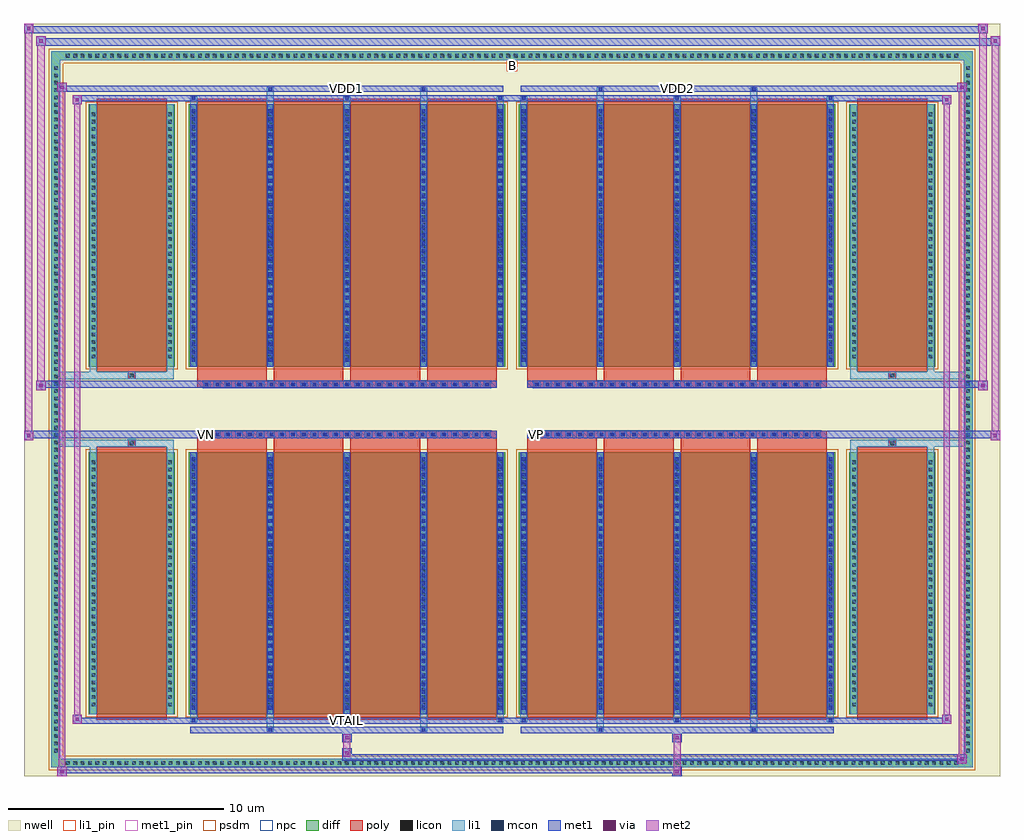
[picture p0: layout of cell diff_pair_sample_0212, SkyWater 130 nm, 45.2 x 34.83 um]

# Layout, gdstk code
import gdstk
lib = gdstk.Library(unit=1e-6, precision=5e-09)
def R(c, l, rs):  # rectangles x0, y0, x1, y1
    for r in rs: c.add(gdstk.rectangle(r[:2], r[2:], *l))
def A(c, l, x, y, w, h, nx, ny, dx, dy):  # array of equal rectangles
    R(c, l, [(x+i*dx, y+j*dy, x+i*dx+w, y+j*dy+h) for i in range(nx) for j in range(ny)])
def P(c, l, *ps):  # polygons
    for p in ps: c.add(gdstk.Polygon(p, *l))
nwell = (64, 20)
diff = (65, 20)
poly = (66, 20)
licon = (66, 44)
li1_pin = (67, 16)
li1 = (67, 20)
mcon = (67, 44)
met1_pin = (68, 16)
met1 = (68, 20)
via = (68, 44)
met2 = (69, 20)
psdm = (94, 20)
npc = (95, 20)

diff_pair_sample_0212 = lib.new_cell('diff_pair_sample_0212')
R(diff_pair_sample_0212, nwell, [(-22.6,-16.98,22.6,17.85), (-19.92,-15.17,-0.01,-0.795), (0.01,-15.17,19.92,-0.795), (-19.92,0.795,-0.01,15.17), (0.01,0.795,19.92,15.17)])
A(diff_pair_sample_0212, diff, -20.775, -16.58, 0.41, 0.41, 122, 2, 0.34, 32.75)
A(diff_pair_sample_0212, diff, -21.33, -16.015, 0.41, 0.41, 1, 94, 0, 0.34)
A(diff_pair_sample_0212, diff, 20.92, -16.015, 0.41, 0.41, 1, 94, 0, 0.34)
R(diff_pair_sample_0212, diff, [(-20.775,-16.58,20.775,-16.17), (-21.33,-16.015,-20.92,16.015), (20.92,-16.015,21.33,16.015), (-19.61,-14.125,-15.61,-1.985), (-14.97,-14.125,-0.32,-1.985), (0.32,-14.125,14.97,-1.985), (15.61,-14.125,19.61,-1.985), (-19.61,1.985,-15.61,14.125), (-14.97,1.985,-0.32,14.125), (0.32,1.985,14.97,14.125), (15.61,1.985,19.61,14.125), (-20.775,16.17,20.775,16.58)])
P(diff_pair_sample_0212, diff, [(21.33,16.58),(-21.33,16.58),(-21.33,-16.17),(-20.92,-16.17),(-20.92,16.17),(20.92,16.17),(20.92,-16.17),(-20.92,-16.17),(-21.33,-16.17),(-21.33,-16.58),(21.33,-16.58)])
A(diff_pair_sample_0212, poly, -14.58, -14.375, 3.22, 12.64, 4, 2, 3.55, 16.11)
A(diff_pair_sample_0212, poly, 0.71, -14.375, 3.22, 12.64, 4, 2, 3.55, 16.11)
A(diff_pair_sample_0212, poly, -14.58, -1.735, 3.22, 0.41, 4, 2, 3.55, 3.06)
A(diff_pair_sample_0212, poly, 0.71, -1.735, 3.22, 0.41, 4, 2, 3.55, 3.06)
A(diff_pair_sample_0212, poly, -14.31, -1.325, 0.33, 0.33, 27, 2, 0.5, 2.32)
A(diff_pair_sample_0212, poly, 0.98, -1.325, 0.33, 0.33, 27, 2, 0.5, 2.32)
R(diff_pair_sample_0212, poly, [(-19.22,-14.375,-16,-1.735), (16,-14.375,19.22,-1.735), (-17.775,-1.735,-17.445,-1.405), (-17.775,-1.735,-17.445,-1.405), (17.445,-1.735,17.775,-1.405), (17.445,-1.735,17.775,-1.405), (-14.58,-1.325,-0.71,-0.995), (0.71,-1.325,14.58,-0.995), (-14.58,0.995,-0.71,1.325), (0.71,0.995,14.58,1.325), (-17.775,1.405,-17.445,1.735), (-17.775,1.405,-17.445,1.735), (17.445,1.405,17.775,1.735), (17.445,1.405,17.775,1.735), (-19.22,1.735,-16,14.375), (16,1.735,19.22,14.375)])
A(diff_pair_sample_0212, licon, -20.655, -16.46, 0.17, 0.17, 122, 2, 0.34, 32.75)
A(diff_pair_sample_0212, licon, -21.21, -15.895, 0.17, 0.17, 1, 94, 0, 0.34)
A(diff_pair_sample_0212, licon, 21.04, -15.895, 0.17, 0.17, 1, 94, 0, 0.34)
A(diff_pair_sample_0212, licon, -19.47, -13.75, 0.17, 0.17, 1, 34, 0, 0.34)
A(diff_pair_sample_0212, licon, -15.92, -13.75, 0.17, 0.17, 1, 34, 0, 0.34)
A(diff_pair_sample_0212, licon, -14.83, -13.75, 0.17, 0.17, 5, 34, 3.55, 0.34)
A(diff_pair_sample_0212, licon, 0.46, -13.75, 0.17, 0.17, 5, 34, 3.55, 0.34)
A(diff_pair_sample_0212, licon, 15.75, -13.75, 0.17, 0.17, 1, 34, 0, 0.34)
A(diff_pair_sample_0212, licon, 19.3, -13.75, 0.17, 0.17, 1, 34, 0, 0.34)
A(diff_pair_sample_0212, licon, -14.23, -1.245, 0.17, 0.17, 27, 2, 0.5, 2.32)
A(diff_pair_sample_0212, licon, 1.06, -1.245, 0.17, 0.17, 27, 2, 0.5, 2.32)
A(diff_pair_sample_0212, licon, -19.47, 2.36, 0.17, 0.17, 1, 34, 0, 0.34)
A(diff_pair_sample_0212, licon, -15.92, 2.36, 0.17, 0.17, 1, 34, 0, 0.34)
A(diff_pair_sample_0212, licon, -14.83, 2.36, 0.17, 0.17, 5, 34, 3.55, 0.34)
A(diff_pair_sample_0212, licon, 0.46, 2.36, 0.17, 0.17, 5, 34, 3.55, 0.34)
A(diff_pair_sample_0212, licon, 15.75, 2.36, 0.17, 0.17, 1, 34, 0, 0.34)
A(diff_pair_sample_0212, licon, 19.3, 2.36, 0.17, 0.17, 1, 34, 0, 0.34)
R(diff_pair_sample_0212, licon, [(-17.695,-1.655,-17.525,-1.485), (17.525,-1.655,17.695,-1.485), (-17.695,1.485,-17.525,1.655), (17.525,1.485,17.695,1.655)])
R(diff_pair_sample_0212, li1_pin, [(-0.25,15.67,0.25,16.17)])
A(diff_pair_sample_0212, li1, -20.735, -16.54, 0.33, 0.33, 122, 2, 0.34, 32.75)
A(diff_pair_sample_0212, li1, -21.29, -15.975, 0.33, 0.33, 1, 94, 0, 0.34)
A(diff_pair_sample_0212, li1, 20.96, -15.975, 0.33, 0.33, 1, 94, 0, 0.34)
A(diff_pair_sample_0212, li1, -14.91, -14.5, 0.33, 0.375, 3, 2, 7.1, 28.625)
A(diff_pair_sample_0212, li1, -14.83, -14.5, 0.17, 0.17, 3, 2, 7.1, 28.83)
A(diff_pair_sample_0212, li1, 0.38, -14.5, 0.33, 0.375, 3, 2, 7.1, 28.625)
A(diff_pair_sample_0212, li1, 0.46, -14.5, 0.17, 0.17, 3, 2, 7.1, 28.83)
A(diff_pair_sample_0212, li1, -14.91, -14.125, 0.33, 12.14, 5, 2, 3.55, 16.11)
A(diff_pair_sample_0212, li1, 0.38, -14.125, 0.33, 12.14, 5, 2, 3.55, 16.11)
A(diff_pair_sample_0212, li1, -14.83, -13.9, 0.17, 0.17, 5, 33, 3.55, 0.36)
A(diff_pair_sample_0212, li1, -14.83, -13.9, 0.17, 11.69, 5, 2, 3.55, 16.11)
A(diff_pair_sample_0212, li1, 0.46, -13.9, 0.17, 0.17, 5, 33, 3.55, 0.36)
A(diff_pair_sample_0212, li1, 0.46, -13.9, 0.17, 11.69, 5, 2, 3.55, 16.11)
A(diff_pair_sample_0212, li1, -19.55, -13.83, 0.33, 0.33, 1, 34, 0, 0.34)
A(diff_pair_sample_0212, li1, -16, -13.83, 0.33, 0.33, 1, 34, 0, 0.34)
A(diff_pair_sample_0212, li1, -14.91, -13.83, 0.33, 0.33, 5, 34, 3.55, 0.34)
A(diff_pair_sample_0212, li1, 0.38, -13.83, 0.33, 0.33, 5, 34, 3.55, 0.34)
A(diff_pair_sample_0212, li1, 15.67, -13.83, 0.33, 0.33, 1, 34, 0, 0.34)
A(diff_pair_sample_0212, li1, 19.22, -13.83, 0.33, 0.33, 1, 34, 0, 0.34)
A(diff_pair_sample_0212, li1, -14.31, -1.325, 0.33, 0.33, 27, 2, 0.5, 2.32)
A(diff_pair_sample_0212, li1, 0.98, -1.325, 0.33, 0.33, 27, 2, 0.5, 2.32)
A(diff_pair_sample_0212, li1, -14.83, 2.21, 0.17, 0.17, 5, 33, 3.55, 0.36)
A(diff_pair_sample_0212, li1, 0.46, 2.21, 0.17, 0.17, 5, 33, 3.55, 0.36)
A(diff_pair_sample_0212, li1, -19.55, 2.28, 0.33, 0.33, 1, 34, 0, 0.34)
A(diff_pair_sample_0212, li1, -16, 2.28, 0.33, 0.33, 1, 34, 0, 0.34)
A(diff_pair_sample_0212, li1, -14.91, 2.28, 0.33, 0.33, 5, 34, 3.55, 0.34)
A(diff_pair_sample_0212, li1, 0.38, 2.28, 0.33, 0.33, 5, 34, 3.55, 0.34)
A(diff_pair_sample_0212, li1, 15.67, 2.28, 0.33, 0.33, 1, 34, 0, 0.34)
A(diff_pair_sample_0212, li1, 19.22, 2.28, 0.33, 0.33, 1, 34, 0, 0.34)
R(diff_pair_sample_0212, li1, [(-21.33,-16.58,-20.92,-16.17), (-21.33,-16.58,-20.92,-16.17), (-20.92,-16.58,20.92,-16.17), (20.92,-16.58,21.33,-16.17), (20.92,-16.58,21.33,-16.17), (-21.33,-16.17,-20.92,16.17), (20.92,-16.17,21.33,16.17), (-11.36,-14.93,-11.03,-14.125), (-11.28,-14.93,-11.11,-14.76), (-4.26,-14.93,-3.93,-14.125), (-4.18,-14.93,-4.01,-14.76), (3.93,-14.93,4.26,-14.125), (4.01,-14.93,4.18,-14.76), (11.03,-14.93,11.36,-14.125), (11.11,-14.93,11.28,-14.76), (-19.55,-14.125,-19.22,-1.985), (-16,-14.125,-15.67,-1.985), (15.67,-14.125,16,-1.985), (19.22,-14.125,19.55,-1.985), (-19.55,-1.985,-19.22,-1.405), (-16,-1.985,-15.67,-1.405), (15.67,-1.985,16,-1.405), (19.22,-1.985,19.55,-1.405), (-21.33,-1.735,-17.775,-1.405), (-19.55,-1.735,-17.775,-1.405), (-17.775,-1.735,-17.445,-1.405), (-17.445,-1.735,-15.67,-1.405), (15.67,-1.735,17.445,-1.405), (17.445,-1.735,17.775,-1.405), (17.445,-1.735,21.33,-1.405), (17.775,-1.735,19.55,-1.405), (-21.33,1.405,-17.775,1.735), (-19.55,1.405,-17.775,1.735), (-19.55,1.405,-19.22,1.985), (-17.775,1.405,-17.445,1.735), (-17.445,1.405,-15.67,1.735), (-16,1.405,-15.67,1.985), (15.67,1.405,17.445,1.735), (15.67,1.405,16,1.985), (17.445,1.405,17.775,1.735), (17.445,1.405,21.33,1.735), (17.775,1.405,19.55,1.735), (19.22,1.405,19.55,1.985), (-19.55,1.985,-19.22,14.125), (-16,1.985,-15.67,14.125), (15.67,1.985,16,14.125), (19.22,1.985,19.55,14.125), (-11.36,14.125,-11.03,14.93), (-4.26,14.125,-3.93,14.93), (3.93,14.125,4.26,14.93), (11.03,14.125,11.36,14.93), (-11.28,14.76,-11.11,14.93), (-4.18,14.76,-4.01,14.93), (4.01,14.76,4.18,14.93), (11.11,14.76,11.28,14.93), (-21.33,16.17,-20.92,16.58), (-21.33,16.17,-20.92,16.58), (-20.92,16.17,20.92,16.58), (20.92,16.17,21.33,16.58), (20.92,16.17,21.33,16.58)])
A(diff_pair_sample_0212, mcon, -14.83, -14.5, 0.17, 0.17, 3, 2, 7.1, 28.83)
A(diff_pair_sample_0212, mcon, 0.46, -14.5, 0.17, 0.17, 3, 2, 7.1, 28.83)
A(diff_pair_sample_0212, mcon, -14.83, -13.9, 0.17, 0.17, 5, 33, 3.55, 0.36)
A(diff_pair_sample_0212, mcon, 0.46, -13.9, 0.17, 0.17, 5, 33, 3.55, 0.36)
A(diff_pair_sample_0212, mcon, -14.23, -1.245, 0.17, 0.17, 27, 2, 0.5, 2.32)
A(diff_pair_sample_0212, mcon, 1.06, -1.245, 0.17, 0.17, 27, 2, 0.5, 2.32)
A(diff_pair_sample_0212, mcon, -14.83, 2.21, 0.17, 0.17, 5, 33, 3.55, 0.36)
A(diff_pair_sample_0212, mcon, 0.46, 2.21, 0.17, 0.17, 5, 33, 3.55, 0.36)
R(diff_pair_sample_0212, mcon, [(-11.28,-14.93,-11.11,-14.76), (-4.18,-14.93,-4.01,-14.76), (4.01,-14.93,4.18,-14.76), (11.11,-14.93,11.28,-14.76), (-11.28,14.76,-11.11,14.93), (-4.18,14.76,-4.01,14.93), (4.01,14.76,4.18,14.93), (11.11,14.76,11.28,14.93)])
R(diff_pair_sample_0212, met1_pin, [(-7.78,-14.54,-7.51,-14.27), (-14.28,-1.285,-14.01,-1.015), (1.01,-1.285,1.28,-1.015), (-7.78,14.72,-7.51,14.99), (7.51,14.72,7.78,14.99)])
A(diff_pair_sample_0212, met1, -14.89, -14.56, 0.29, 0.29, 3, 2, 7.1, 28.83)
A(diff_pair_sample_0212, met1, 0.4, -14.56, 0.29, 0.29, 3, 2, 7.1, 28.83)
A(diff_pair_sample_0212, met1, -14.89, -14.125, 0.29, 12.14, 5, 2, 3.55, 16.11)
A(diff_pair_sample_0212, met1, 0.4, -14.125, 0.29, 12.14, 5, 2, 3.55, 16.11)
A(diff_pair_sample_0212, met1, -14.89, -13.96, 0.29, 0.29, 5, 33, 3.55, 0.36)
A(diff_pair_sample_0212, met1, 0.4, -13.96, 0.29, 0.29, 5, 33, 3.55, 0.36)
A(diff_pair_sample_0212, met1, -14.29, -1.305, 0.29, 0.29, 27, 2, 0.5, 2.32)
A(diff_pair_sample_0212, met1, 1, -1.305, 0.29, 0.29, 27, 2, 0.5, 2.32)
A(diff_pair_sample_0212, met1, -14.89, 2.15, 0.29, 0.29, 5, 33, 3.55, 0.36)
A(diff_pair_sample_0212, met1, 0.4, 2.15, 0.29, 0.29, 5, 33, 3.55, 0.36)
R(diff_pair_sample_0212, met1, [(-21.06,-16.98,-20.63,-16.55), (7.43,-16.98,7.86,-16.55), (-21.06,-16.84,7.86,-16.55), (20.63,-16.41,21.06,-15.98), (-7.86,-16.27,21.06,-15.98), (-7.86,-16.13,-7.43,-15.7), (-7.86,-15.42,-7.43,-14.99), (7.43,-15.42,7.86,-14.99), (-14.89,-14.99,-0.4,-14.7), (-11.34,-14.99,-11.05,-14.7), (-4.24,-14.99,-3.95,-14.7), (0.4,-14.99,14.89,-14.7), (3.95,-14.99,4.24,-14.7), (11.05,-14.99,11.34,-14.7), (-20.35,-14.56,-19.92,-14.13), (-20.35,-14.56,-14.89,-14.27), (-14.89,-14.56,-0.4,-14.27), (-0.4,-14.56,0.4,-14.27), (0.4,-14.56,14.89,-14.27), (14.89,-14.56,20.35,-14.27), (19.92,-14.56,20.35,-14.13), (-22.6,-1.425,-22.17,-0.995), (22.17,-1.425,22.6,-0.995), (-22.6,-1.325,-0.71,-0.995), (-14.58,-1.325,-0.71,-0.995), (0.71,-1.325,14.58,-0.995), (0.71,-1.325,22.6,-0.995), (-22.03,0.895,-21.6,1.325), (21.6,0.895,22.03,1.325), (-22.03,0.995,-14.58,1.325), (-14.58,0.995,-0.71,1.325), (0.71,0.995,14.58,1.325), (14.58,0.995,22.03,1.325), (-20.35,14.13,-19.92,14.56), (19.92,14.13,20.35,14.56), (-20.35,14.27,-14.89,14.56), (-14.89,14.27,-0.4,14.56), (-0.4,14.27,0.4,14.56), (0.4,14.27,14.89,14.56), (14.89,14.27,20.35,14.56), (-21.06,14.7,-20.63,15.13), (-21.06,14.7,-14.89,14.99), (-14.89,14.7,-0.4,14.99), (-11.34,14.7,-11.05,14.99), (-4.24,14.7,-3.95,14.99), (0.4,14.7,14.89,14.99), (3.95,14.7,4.24,14.99), (11.05,14.7,11.34,14.99), (14.89,14.7,21.06,14.99), (20.63,14.7,21.06,15.13), (-22.03,16.85,-21.6,17.28), (-22.03,16.85,-19.92,17.18), (-19.92,16.85,19.92,17.18), (19.92,16.85,22.6,17.18), (22.17,16.85,22.6,17.28), (-22.6,17.42,-22.17,17.85), (-22.6,17.42,-19.92,17.75), (-19.92,17.42,19.92,17.75), (19.92,17.42,22.03,17.75), (21.6,17.42,22.03,17.85)])
R(diff_pair_sample_0212, via, [(-20.92,-16.84,-20.77,-16.69), (7.57,-16.84,7.72,-16.69), (20.77,-16.27,20.92,-16.12), (-7.72,-15.99,-7.57,-15.84), (-7.72,-15.28,-7.57,-15.13), (7.57,-15.28,7.72,-15.13), (-20.21,-14.42,-20.06,-14.27), (20.06,-14.42,20.21,-14.27), (-22.46,-1.285,-22.31,-1.135), (22.31,-1.285,22.46,-1.135), (-21.89,1.035,-21.74,1.185), (21.74,1.035,21.89,1.185), (-20.21,14.27,-20.06,14.42), (20.06,14.27,20.21,14.42), (-20.92,14.84,-20.77,14.99), (20.77,14.84,20.92,14.99), (-21.89,16.99,-21.74,17.14), (22.31,16.99,22.46,17.14), (-22.46,17.56,-22.31,17.71), (21.74,17.56,21.89,17.71)])
R(diff_pair_sample_0212, met2, [(-21.06,-16.98,-20.63,-16.55), (-20.99,-16.98,-20.7,15.13), (-20.7,-16.98,-20.63,-16.55), (-21.01,-16.93,-20.68,-16.6), (7.48,-16.93,7.81,-16.6), (7.48,-16.6,7.81,-15.37), (20.63,-16.41,21.06,-15.98), (20.7,-16.41,20.99,15.13), (20.99,-16.41,21.06,-15.98), (20.68,-16.36,21.01,-16.03), (-7.81,-16.08,-7.48,-15.75), (-7.81,-15.75,-7.48,-15.37), (-7.81,-15.37,-7.48,-15.04), (7.48,-15.37,7.81,-15.04), (-20.35,-14.56,-19.92,-14.13), (-20.28,-14.56,-19.99,14.56), (-19.99,-14.56,-19.92,-14.13), (19.92,-14.56,20.35,-14.13), (19.99,-14.56,20.28,14.56), (20.28,-14.56,20.35,-14.13), (-20.3,-14.51,-19.97,-14.18), (19.97,-14.51,20.3,-14.18), (-22.6,-1.425,-22.17,-0.995), (-22.55,-1.425,-22.22,17.85), (-22.22,-1.425,-22.17,-0.995), (22.17,-1.425,22.6,-0.995), (22.22,-1.425,22.55,17.28), (22.55,-1.425,22.6,-0.995), (-22.55,-1.375,-22.22,-1.045), (22.22,-1.375,22.55,-1.045), (-22.03,0.895,-21.6,1.325), (-21.98,0.895,-21.65,17.28), (-21.65,0.895,-21.6,1.325), (21.6,0.895,22.03,1.325), (21.65,0.895,21.98,17.85), (21.98,0.895,22.03,1.325), (-21.98,0.945,-21.65,1.275), (21.65,0.945,21.98,1.275), (-20.35,14.13,-19.92,14.56), (-19.99,14.13,-19.92,14.56), (19.92,14.13,20.35,14.56), (20.28,14.13,20.35,14.56), (-20.3,14.18,-19.97,14.51), (19.97,14.18,20.3,14.51), (-21.06,14.7,-20.63,15.13), (-20.7,14.7,-20.63,15.13), (20.63,14.7,21.06,15.13), (20.99,14.7,21.06,15.13), (-21.01,14.75,-20.68,15.08), (20.68,14.75,21.01,15.08), (-22.03,16.85,-21.6,17.28), (-21.65,16.85,-21.6,17.28), (22.17,16.85,22.6,17.28), (22.55,16.85,22.6,17.28), (-21.98,16.9,-21.65,17.23), (22.22,16.9,22.55,17.23), (-22.6,17.42,-22.17,17.85), (-22.22,17.42,-22.17,17.85), (21.6,17.42,22.03,17.85), (21.98,17.42,22.03,17.85), (-22.55,17.47,-22.22,17.8), (21.65,17.47,21.98,17.8)])
R(diff_pair_sample_0212, psdm, [(-19.74,-14.255,-15.48,-1.855), (-15.1,-14.255,-0.19,-1.855), (0.19,-14.255,15.1,-1.855), (15.48,-14.255,19.74,-1.855), (-19.74,1.855,-15.48,14.255), (-15.1,1.855,-0.19,14.255), (0.19,1.855,15.1,14.255), (15.48,1.855,19.74,14.255)])
P(diff_pair_sample_0212, psdm, [(21.46,16.71),(-21.46,16.71),(-21.46,-16.04),(-20.79,-16.04),(-20.79,16.04),(20.79,16.04),(20.79,-16.04),(-20.79,-16.04),(-21.46,-16.04),(-21.46,-16.71),(21.46,-16.71)])
A(diff_pair_sample_0212, npc, -14.33, -1.345, 0.37, 0.37, 27, 2, 0.5, 2.32)
A(diff_pair_sample_0212, npc, 0.96, -1.345, 0.37, 0.37, 27, 2, 0.5, 2.32)
R(diff_pair_sample_0212, npc, [(-17.795,-1.755,-17.425,-1.385), (17.425,-1.755,17.795,-1.385), (-14.33,-1.345,-13.46,-0.975), (-14.33,-1.345,-13.46,-0.975), (-13.83,-1.345,-12.96,-0.975), (-13.83,-1.345,-12.96,-0.975), (-13.33,-1.345,-12.46,-0.975), (-13.33,-1.345,-12.46,-0.975), (-12.83,-1.345,-11.96,-0.975), (-12.83,-1.345,-11.96,-0.975), (-12.33,-1.345,-11.46,-0.975), (-12.33,-1.345,-11.46,-0.975), (-11.83,-1.345,-10.96,-0.975), (-11.83,-1.345,-10.96,-0.975), (-11.33,-1.345,-10.46,-0.975), (-11.33,-1.345,-10.46,-0.975), (-10.83,-1.345,-9.96,-0.975), (-10.83,-1.345,-9.96,-0.975), (-10.33,-1.345,-9.46,-0.975), (-10.33,-1.345,-9.46,-0.975), (-9.83,-1.345,-8.96,-0.975), (-9.83,-1.345,-8.96,-0.975), (-9.33,-1.345,-8.46,-0.975), (-9.33,-1.345,-8.46,-0.975), (-8.83,-1.345,-7.96,-0.975), (-8.83,-1.345,-7.96,-0.975), (-8.33,-1.345,-7.46,-0.975), (-8.33,-1.345,-7.46,-0.975), (-7.83,-1.345,-6.96,-0.975), (-7.83,-1.345,-6.96,-0.975), (-7.33,-1.345,-6.46,-0.975), (-7.33,-1.345,-6.46,-0.975), (-6.83,-1.345,-5.96,-0.975), (-6.83,-1.345,-5.96,-0.975), (-6.33,-1.345,-5.46,-0.975), (-6.33,-1.345,-5.46,-0.975), (-5.83,-1.345,-4.96,-0.975), (-5.83,-1.345,-4.96,-0.975), (-5.33,-1.345,-4.46,-0.975), (-5.33,-1.345,-4.46,-0.975), (-4.83,-1.345,-3.96,-0.975), (-4.83,-1.345,-3.96,-0.975), (-4.33,-1.345,-3.46,-0.975), (-4.33,-1.345,-3.46,-0.975), (-3.83,-1.345,-2.96,-0.975), (-3.83,-1.345,-2.96,-0.975), (-3.33,-1.345,-2.46,-0.975), (-3.33,-1.345,-2.46,-0.975), (-2.83,-1.345,-1.96,-0.975), (-2.83,-1.345,-1.96,-0.975), (-2.33,-1.345,-1.46,-0.975), (-2.33,-1.345,-1.46,-0.975), (-1.83,-1.345,-0.96,-0.975), (-1.83,-1.345,-0.96,-0.975), (0.96,-1.345,1.83,-0.975), (0.96,-1.345,1.83,-0.975), (1.46,-1.345,2.33,-0.975), (1.46,-1.345,2.33,-0.975), (1.96,-1.345,2.83,-0.975), (1.96,-1.345,2.83,-0.975), (2.46,-1.345,3.33,-0.975), (2.46,-1.345,3.33,-0.975), (2.96,-1.345,3.83,-0.975), (2.96,-1.345,3.83,-0.975), (3.46,-1.345,4.33,-0.975), (3.46,-1.345,4.33,-0.975), (3.96,-1.345,4.83,-0.975), (3.96,-1.345,4.83,-0.975), (4.46,-1.345,5.33,-0.975), (4.46,-1.345,5.33,-0.975), (4.96,-1.345,5.83,-0.975), (4.96,-1.345,5.83,-0.975), (5.46,-1.345,6.33,-0.975), (5.46,-1.345,6.33,-0.975), (5.96,-1.345,6.83,-0.975), (5.96,-1.345,6.83,-0.975), (6.46,-1.345,7.33,-0.975), (6.46,-1.345,7.33,-0.975), (6.96,-1.345,7.83,-0.975), (6.96,-1.345,7.83,-0.975), (7.46,-1.345,8.33,-0.975), (7.46,-1.345,8.33,-0.975), (7.96,-1.345,8.83,-0.975), (7.96,-1.345,8.83,-0.975), (8.46,-1.345,9.33,-0.975), (8.46,-1.345,9.33,-0.975), (8.96,-1.345,9.83,-0.975), (8.96,-1.345,9.83,-0.975), (9.46,-1.345,10.33,-0.975), (9.46,-1.345,10.33,-0.975), (9.96,-1.345,10.83,-0.975), (9.96,-1.345,10.83,-0.975), (10.46,-1.345,11.33,-0.975), (10.46,-1.345,11.33,-0.975), (10.96,-1.345,11.83,-0.975), (10.96,-1.345,11.83,-0.975), (11.46,-1.345,12.33,-0.975), (11.46,-1.345,12.33,-0.975), (11.96,-1.345,12.83,-0.975), (11.96,-1.345,12.83,-0.975), (12.46,-1.345,13.33,-0.975), (12.46,-1.345,13.33,-0.975), (12.96,-1.345,13.83,-0.975), (12.96,-1.345,13.83,-0.975), (13.46,-1.345,14.33,-0.975), (13.46,-1.345,14.33,-0.975), (-14.33,0.975,-13.46,1.345), (-14.33,0.975,-13.46,1.345), (-13.83,0.975,-12.96,1.345), (-13.83,0.975,-12.96,1.345), (-13.33,0.975,-12.46,1.345), (-13.33,0.975,-12.46,1.345), (-12.83,0.975,-11.96,1.345), (-12.83,0.975,-11.96,1.345), (-12.33,0.975,-11.46,1.345), (-12.33,0.975,-11.46,1.345), (-11.83,0.975,-10.96,1.345), (-11.83,0.975,-10.96,1.345), (-11.33,0.975,-10.46,1.345), (-11.33,0.975,-10.46,1.345), (-10.83,0.975,-9.96,1.345), (-10.83,0.975,-9.96,1.345), (-10.33,0.975,-9.46,1.345), (-10.33,0.975,-9.46,1.345), (-9.83,0.975,-8.96,1.345), (-9.83,0.975,-8.96,1.345), (-9.33,0.975,-8.46,1.345), (-9.33,0.975,-8.46,1.345), (-8.83,0.975,-7.96,1.345), (-8.83,0.975,-7.96,1.345), (-8.33,0.975,-7.46,1.345), (-8.33,0.975,-7.46,1.345), (-7.83,0.975,-6.96,1.345), (-7.83,0.975,-6.96,1.345), (-7.33,0.975,-6.46,1.345), (-7.33,0.975,-6.46,1.345), (-6.83,0.975,-5.96,1.345), (-6.83,0.975,-5.96,1.345), (-6.33,0.975,-5.46,1.345), (-6.33,0.975,-5.46,1.345), (-5.83,0.975,-4.96,1.345), (-5.83,0.975,-4.96,1.345), (-5.33,0.975,-4.46,1.345), (-5.33,0.975,-4.46,1.345), (-4.83,0.975,-3.96,1.345), (-4.83,0.975,-3.96,1.345), (-4.33,0.975,-3.46,1.345), (-4.33,0.975,-3.46,1.345), (-3.83,0.975,-2.96,1.345), (-3.83,0.975,-2.96,1.345), (-3.33,0.975,-2.46,1.345), (-3.33,0.975,-2.46,1.345), (-2.83,0.975,-1.96,1.345), (-2.83,0.975,-1.96,1.345), (-2.33,0.975,-1.46,1.345), (-2.33,0.975,-1.46,1.345), (-1.83,0.975,-0.96,1.345), (-1.83,0.975,-0.96,1.345), (0.96,0.975,1.83,1.345), (0.96,0.975,1.83,1.345), (1.46,0.975,2.33,1.345), (1.46,0.975,2.33,1.345), (1.96,0.975,2.83,1.345), (1.96,0.975,2.83,1.345), (2.46,0.975,3.33,1.345), (2.46,0.975,3.33,1.345), (2.96,0.975,3.83,1.345), (2.96,0.975,3.83,1.345), (3.46,0.975,4.33,1.345), (3.46,0.975,4.33,1.345), (3.96,0.975,4.83,1.345), (3.96,0.975,4.83,1.345), (4.46,0.975,5.33,1.345), (4.46,0.975,5.33,1.345), (4.96,0.975,5.83,1.345), (4.96,0.975,5.83,1.345), (5.46,0.975,6.33,1.345), (5.46,0.975,6.33,1.345), (5.96,0.975,6.83,1.345), (5.96,0.975,6.83,1.345), (6.46,0.975,7.33,1.345), (6.46,0.975,7.33,1.345), (6.96,0.975,7.83,1.345), (6.96,0.975,7.83,1.345), (7.46,0.975,8.33,1.345), (7.46,0.975,8.33,1.345), (7.96,0.975,8.83,1.345), (7.96,0.975,8.83,1.345), (8.46,0.975,9.33,1.345), (8.46,0.975,9.33,1.345), (8.96,0.975,9.83,1.345), (8.96,0.975,9.83,1.345), (9.46,0.975,10.33,1.345), (9.46,0.975,10.33,1.345), (9.96,0.975,10.83,1.345), (9.96,0.975,10.83,1.345), (10.46,0.975,11.33,1.345), (10.46,0.975,11.33,1.345), (10.96,0.975,11.83,1.345), (10.96,0.975,11.83,1.345), (11.46,0.975,12.33,1.345), (11.46,0.975,12.33,1.345), (11.96,0.975,12.83,1.345), (11.96,0.975,12.83,1.345), (12.46,0.975,13.33,1.345), (12.46,0.975,13.33,1.345), (12.96,0.975,13.83,1.345), (12.96,0.975,13.83,1.345), (13.46,0.975,14.33,1.345), (13.46,0.975,14.33,1.345), (-17.795,1.385,-17.425,1.755), (17.425,1.385,17.795,1.755)])
diff_pair_sample_0212.add(gdstk.Label('VTAIL', (-7.645,-14.405), layer=68, texttype=5))
diff_pair_sample_0212.add(gdstk.Label('VN', (-14.145,-1.15), layer=68, texttype=5))
diff_pair_sample_0212.add(gdstk.Label('VP', (1.145,-1.15), layer=68, texttype=5))
diff_pair_sample_0212.add(gdstk.Label('B', (0,15.92), layer=67, texttype=5))
diff_pair_sample_0212.add(gdstk.Label('VDD2', (7.645,14.855), layer=68, texttype=5))
diff_pair_sample_0212.add(gdstk.Label('VDD1', (-7.645,14.855), layer=68, texttype=5))

lib.write_gds('diff_pair_sample_0212.gds')
